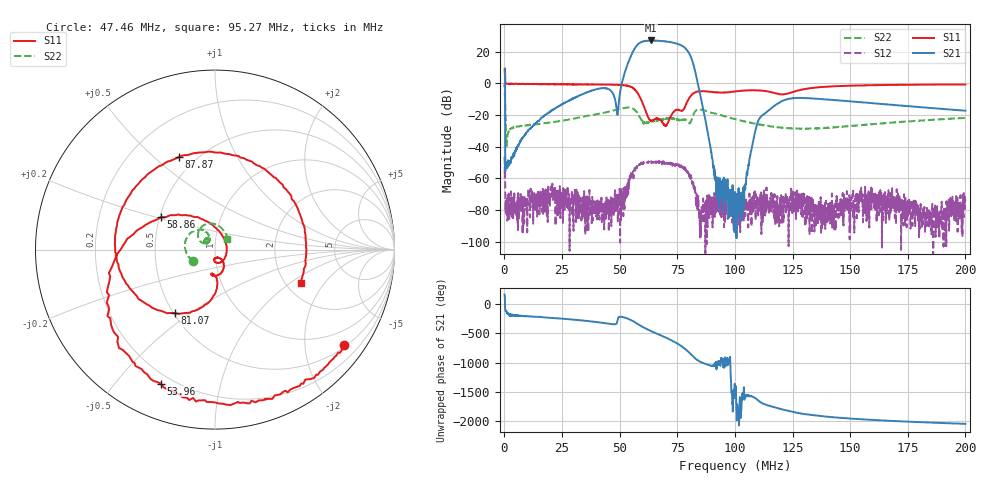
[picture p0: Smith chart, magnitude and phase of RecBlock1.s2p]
! 19-Feb-26 1:59:19 PM
! E:\VNA_MEASUREMENTS\RECBLOCK\RECBLOCK1.S2P
! CHANNEL.1
! TR.MEASUREMENT
! CORRECTED.DATA
# GHZ S RI R 50.0
! FREQ.GHZ  S11RE  S11IM  S21RE  S21IM  S12RE  S12IM  S22RE  S22IM
!; PortSelection: Port_12
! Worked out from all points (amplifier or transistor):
!   2000 points, 50 kHz to 200 MHz, reference 50 ohm
!   highest |S21| = 27.1 dB at 63.47 MHz (marker M1)
!   |S21| within 3 dB of that: 57.54 MHz to 76.58 MHz (19.04 MHz wide, 28.4 % of centre)
!   unconditionally stable (mu >= 1): start of sweep to 172.4 kHz; 297.9 kHz to end of sweep
!   at 33.36 MHz: K = 3353.47, MAG = 1.5 dB, |S12| = -86.7 dB
!   at 100.1 MHz: K = 10458340.02, MAG = -68.0 dB, |S12| = -79.9 dB
!   at 200 MHz: K = 2707.24, MAG = -9.2 dB, |S12| = -73.5 dB
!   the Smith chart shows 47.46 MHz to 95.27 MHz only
!   S11 on the Smith chart (normalised r, x): 47.46 MHz: 0.55, -2.94; 53.96 MHz: 0.16, -0.66; 58.86 MHz: 0.51, +0.21; 81.07 MHz: 0.51, -0.44; 87.87 MHz: 0.41, +0.60; 95.27 MHz: 2.39, -1.21
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5e-05  -0.8308 -0.1805  -2.699 0.8029  0.0032 -0.00349  0.4596 -0.1565
0.03345835  0.5577 0.7339  0.0694 0.4325  0.000132 -7.31e-05  -0.0147 -0.0844
0.04746186  0.7205 -0.5326  0.3988 0.0969  7.94e-05 0.000112  -0.1244 -0.0635
0.05396348  -0.3015 -0.747  -1.108 4.896  -0.000258 0.000394  -0.1614 0.0583
0.05666416  -0.5895 -0.1803  8.853 9.576  0.00134 0.00142  -0.0891 0.1108
0.05886471  -0.3014 0.181  19.12 -2.142  0.00284 4.2e-05  -0.0334 0.0744
0.06126531  -0.00937 0.1333  11.44 -18.48  0.00196 -0.00253  -0.04 0.0394
0.06346586  0.0652 0.0109  -3.879 -22.24  -0.000227 -0.00336  -0.0517 0.0351
0.06676668  0.016 -0.0742  -20.25 -8.689  -0.00286 -0.00166  -0.055 0.0416
0.06946736  0.00162 -0.0473  -19.51 8.489  -0.00299 0.000632  -0.0584 0.0501
0.07256813  0.0502 -0.0892  -2.688 19.37  -0.000804 0.00278  -0.0483 0.06
0.07436858  0.0189 -0.1421  9.119 15.78  0.00104 0.00257  -0.0417 0.0601
0.07646911  -0.0211 -0.1365  15.98 2.547  0.00246 0.00064  -0.0374 0.0582
0.07876969  0.0107 -0.2169  6.107 -10.63  0.00103 -0.00134  -0.0344 0.0611
0.08107026  -0.2211 -0.3544  -5.196 -3.472  -0.000739 -0.000744  -0.0572 0.0349
0.08287071  -0.4837 -0.2019  -1.801 1.191  -0.00032 0.000177  -0.0942 0.0935
0.08787196  -0.2016 0.5155  0.0257 0.0287  8.1e-06 1.9e-06  0.0276 0.1273
0.09527381  0.4766 -0.1872  0.000172 0.00014  1.46e-05 -2.45e-05  0.0695 0.0594
0.100075  -0.133 -0.5351  0.000283 0.000164  3.7e-06 0.000101  0.0679 0.0281
0.1333833  0.1818 0.6882  -0.0537 -0.3291  -4e-06 -3.07e-05  -0.00165 -0.0371
0.1666917  0.2528 -0.8489  -0.2054 0.0577  -0.00016 0.000178  -0.0538 -0.012
0.2  -0.6994 -0.5942  -0.0499 0.1271  0.00013 0.000168  -0.0691 0.0409
